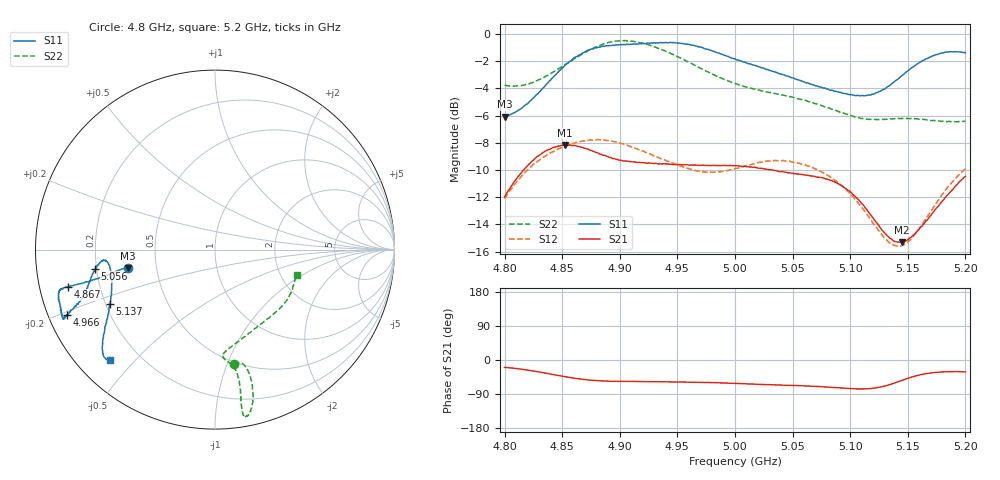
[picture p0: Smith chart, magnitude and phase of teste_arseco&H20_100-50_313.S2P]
! Network Analyzer HP8722D
! Hewlett-Packard
! Data name: Linha & Wilkinson
! Saver's name: Rodrigo Anjos
! Comments: Teste da utilização de aquisição
! continua pelo VNA HP8722D
! Time and date: 6/5/2025 15:10
!  Frequency  S11  S21  S12  S22
# HZ  S  MA R 50
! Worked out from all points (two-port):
!   401 points, 4.8 GHz to 5.2 GHz, reference 50 ohm
!   highest |S21| = -8.16 dB at 4.852 GHz (marker M1); lowest = -15.3 dB at 5.145 GHz (marker M2)
!   |S21| within 3 dB of the highest: 4.806 GHz to 5.093 GHz (286.6 MHz wide, 5.79 % of centre); 5.191809 GHz to end of sweep
!   lowest |S11| = -6.1 dB at 4.8 GHz (marker M3), VSWR 2.97, Z = 17 - j4.6 ohm
!   |S11| at or under -10 dB: nowhere
!   |S22| runs from -6.5 to -0.5 dB; largest |S21 - S12| = 0.62
!   S11 on the Smith chart (normalised r, x): 4.8 GHz: 0.34, -0.09; 4.867 GHz: 0.08, -0.12; 4.966 GHz: 0.05, -0.21; 5.056 GHz: 0.19, -0.08; 5.137 GHz: 0.22, -0.23; 5.2 GHz: 0.09, -0.43
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4.8e9  0.4965 -168.1  0.2516 -19.6  0.2481 -140.8  0.6475 -80.4
4.823e9  0.5703 -167.5  0.3377 -28.0  0.325 -143.7  0.66 -75.9
4.852e9  0.7639 -165.8  0.3908 -43.8  0.3865 -149.3  0.7688 -74.5
4.867e9  0.8471 -165.8  0.3834 -50.7  0.403 -151.9  0.8433 -75.4
4.88e9  0.8884 -165.5  0.3661 -54.5  0.4088 -154.1  0.8984 -76.7
4.899e9  0.9124 -162.9  0.3439 -56.5  0.3981 -156.6  0.9443 -79.0
4.914e9  0.9197 -159.6  0.3374 -56.4  0.379 -157.1  0.9374 -80.2
4.934e9  0.9294 -156.4  0.3326 -57.4  0.3512 -155.6  0.8835 -80.4
4.966e9  0.9031 -156.3  0.329 -58.7  0.3144 -148.3  0.7629 -79.6
5e9  0.8105 -159.0  0.3275 -61.8  0.3196 -137.2  0.6571 -81.3
5.032e9  0.7308 -164.6  0.316 -65.5  0.3415 -134.1  0.6063 -85.4
5.056e9  0.6758 -170.9  0.3048 -67.8  0.3342 -135.8  0.5759 -84.8
5.067e9  0.6514 -172.9  0.3004 -69.1  0.3233 -136.7  0.5595 -82.7
5.083e9  0.6212 -174.5  0.2891 -72.2  0.2973 -138.2  0.5311 -76.8
5.103e9  0.5961 -171.5  0.255 -76.0  0.2502 -138.7  0.4972 -65.3
5.118e9  0.5964 -164.2  0.216 -75.2  0.207 -134.6  0.4852 -54.3
5.134e9  0.6448 -154.3  0.1783 -65.2  0.1706 -120.8  0.4865 -43.4
5.137e9  0.6604 -152.5  0.1741 -62.2  0.1679 -116.8  0.4877 -41.5
5.145e9  0.7036 -148.1  0.1713 -53.4  0.167 -106.3  0.489 -37.0
5.154e9  0.7552 -144.4  0.1807 -44.4  0.1788 -95.0  0.4881 -32.3
5.173e9  0.834 -138.8  0.2237 -33.3  0.2329 -80.7  0.4808 -24.2
5.2e9  0.852 -133.6  0.2993 -31.3  0.3191 -76.8  0.4783 -17.5
